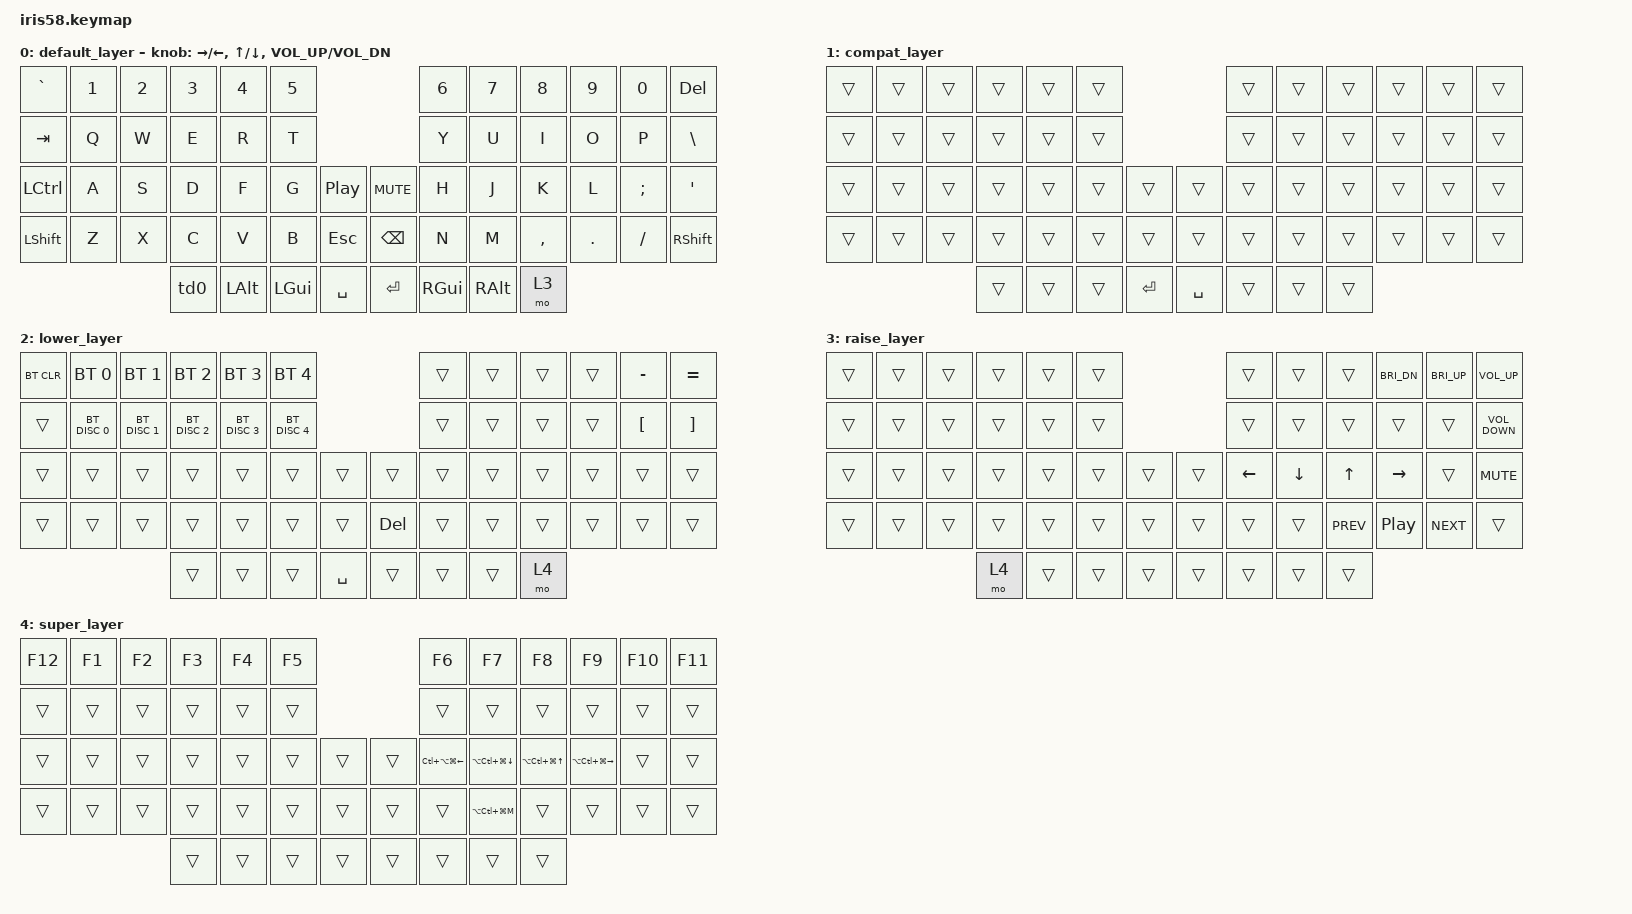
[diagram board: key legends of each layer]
/*
 * Copyright (c) 2020 The ZMK Contributors
 *
 * SPDX-License-Identifier: MIT
 */

#include <behaviors.dtsi>
#include <dt-bindings/zmk/bt.h>
#include <dt-bindings/zmk/keys.h>

/ {

    behaviors {
        td0: tap_dance_0 {
            compatible = "zmk,behavior-tap-dance";
            tapping-term-ms = <200>;
            #binding-cells = <0>;
            bindings = <&mo 2>, <&tog 1>;
        };
    };

    // ----------------------------------------------------------------------------------------
    // |     |     |     |     |     |     |              |     |     |     |     |     |     |
    // |     |     |     |     |     |     |              |     |     |     |     |     |     |
    // |     |     |     |     |     |     |     |  |     |     |     |     |     |     |     |
    // |     |     |     |     |     |     |     |  |     |     |     |     |     |     |     |
    //                   |     |     |     |     |  |     |     |     |     |
    //
    // &trans  &trans  &trans  &trans  &trans  &trans                    &trans  &trans  &trans  &trans  &trans  &trans
    // &trans  &trans  &trans  &trans  &trans  &trans                    &trans  &trans  &trans  &trans  &trans  &trans
    // &trans  &trans  &trans  &trans  &trans  &trans  &trans    &trans  &trans  &trans  &trans  &trans  &trans  &trans
    // &trans  &trans  &trans  &trans  &trans  &trans  &trans    &trans  &trans  &trans  &trans  &trans  &trans  &trans
    //                         &trans  &trans  &trans  &trans    &trans  &trans  &trans  &trans
    keymap {
        compatible = "zmk,keymap";

        // ----------------------------------------------------------------------------------------------------
        // |   `   |  1  |  2  |   3   |  4  |  5  |                  |  6  |  7  |   8   |  9  |  0  |  DEL  |
        // |  TAB  |  Q  |  W  |   E   |  R  |  T  |                  |  Y  |  U  |   I   |  O  |  P  |   \   |
        // |  CTRL |  A  |  S  |   D   |  F  |  G  |  PLAY |  |  MUTE |  H  |  J  |   K   |  L  |  ;  |   '   |
        // | SHIFT |  Z  |  X  |   C   |  V  |  B  |  ESC  |  |  BSPC |  N  |  M  |   ,   |  .  |  /  | SHIFT |
        //                     | LOWER | ALT | GUI | SPACE |  | ENTER | GUI | ALT | RAISE |
        default_layer {
            bindings = <
&kp GRAVE  &kp N1  &kp N2  &kp N3  &kp N4    &kp N5                             &kp N6    &kp N7    &kp N8     &kp N9   &kp N0    &kp DEL
&kp TAB    &kp Q   &kp W   &kp E   &kp R     &kp T                              &kp Y     &kp U     &kp I      &kp O    &kp P     &kp BACKSLASH
&kp LCTRL  &kp A   &kp S   &kp D   &kp F     &kp G     &kp C_PP      &kp C_MUTE &kp H     &kp J     &kp K      &kp L    &kp SEMI  &kp SQT
&kp LSHFT  &kp Z   &kp X   &kp C   &kp V     &kp B     &kp ESCAPE    &kp BSPC   &kp N     &kp M     &kp COMMA  &kp DOT  &kp FSLH  &kp RSHFT
                           &td0    &kp LALT  &kp LGUI  &kp SPACE     &kp ENTER  &kp RGUI  &kp RALT  &mo 3
            >;

            sensor-bindings = <&push_inc_dec_kp RIGHT LEFT &push_inc_dec_kp UP DOWN &inc_dec_kp C_VOL_UP C_VOL_DN>;
        };

        // --------------------------------------------------------------------------------------------
        // |     |     |     |     |     |     |                  |     |     |     |     |     |     |
        // |     |     |     |     |     |     |                  |     |     |     |     |     |     |
        // |     |     |     |     |     |     |       |  |       |     |     |     |     |     |     |
        // |     |     |     |     |     |     |       |  |       |     |     |     |     |     |     |
        //                   |     |     |     | ENTER |  | SPACE |     |     |     |
        compat_layer {
            bindings = <
&trans  &trans  &trans  &trans  &trans  &trans                          &trans  &trans  &trans  &trans  &trans  &trans
&trans  &trans  &trans  &trans  &trans  &trans                          &trans  &trans  &trans  &trans  &trans  &trans
&trans  &trans  &trans  &trans  &trans  &trans  &trans       &trans     &trans  &trans  &trans  &trans  &trans  &trans
&trans  &trans  &trans  &trans  &trans  &trans  &trans       &trans     &trans  &trans  &trans  &trans  &trans  &trans
                        &trans  &trans  &trans  &kp ENTER    &kp SPACE  &trans  &trans  &trans
            >;
        };

        // --------------------------------------------------------------------------------------------
        // | BTCLR | BT1 | BT2 | BT3 | BT4 | BT5 |              |     |     |       |     |  -  |  =  |
        // |       | BD1 | BD2 | BD3 | BD4 | BD5 |              |     |     |       |     |  [  |  ]  |
        // |       |     |     |     |     |     |     |  |     |     |     |       |     |     |     |
        // |       |     |     |     |     |     |     |  | DEL |     |     |       |     |     |     |
        //                     |     |     |     |     |  |     |     |     | SUPER |
        lower_layer {
            bindings = <
&bt BT_CLR  &bt BT_SEL 0   &bt BT_SEL 1   &bt BT_SEL 2   &bt BT_SEL 3   &bt BT_SEL 4                         &trans  &trans  &trans  &trans  &kp MINUS  &kp EQUAL
&trans      &bt BT_DISC 0  &bt BT_DISC 1  &bt BT_DISC 2  &bt BT_DISC 3  &bt BT_DISC 4                        &trans  &trans  &trans  &trans  &kp LBKT   &kp RBKT
&trans      &trans         &trans         &trans         &trans         &trans         &trans       &trans   &trans  &trans  &trans  &trans  &trans     &trans
&trans      &trans         &trans         &trans         &trans         &trans         &trans       &kp DEL  &trans  &trans  &trans  &trans  &trans     &trans
                                          &trans         &trans         &trans         &kp SPACE    &trans   &trans  &trans  &mo 4
            >;
        };

        // --------------------------------------------------------------------------------------------------
        // |     |       |       |       |     |     |              |     |     |     | BRTDN | BRTUP | VUP |
        // |     |       |       |       |     |     |              |     |     |     |       |       | VDN |
        // |     |       |       |       |     |     |     |  |     | LFT | DWN |  UP |  RGT  |       | MUT |
        // |     |       |       |       |     |     |     |  |     |     |     | PRV |  PLAY |  NXT  |     |
        //                       | SUPER |     |     |     |  |     |     |     |     |
        raise_layer {
            bindings = <
&trans  &trans  &trans  &trans  &trans  &trans                    &trans    &trans    &trans      &kp C_BRI_DN  &kp C_BRI_UP  &kp C_VOL_UP
&trans  &trans  &trans  &trans  &trans  &trans                    &trans    &trans    &trans      &trans        &trans        &kp C_VOLUME_DOWN
&trans  &trans  &trans  &trans  &trans  &trans  &trans    &trans  &kp LEFT  &kp DOWN  &kp UP      &kp RIGHT     &trans        &kp C_MUTE
&trans  &trans  &trans  &trans  &trans  &trans  &trans    &trans  &trans    &trans    &kp C_PREV  &kp C_PP      &kp C_NEXT    &trans
                        &mo 4   &trans  &trans  &trans    &trans  &trans    &trans    &trans
            >;
        };

        // ------------------------------------------------------------------------------------------------
        // | F12 |  F1 |  F2 |  F3 |  F4 |  F5 |              |   F6  |   F7  |  F8  |    F9  | F10 | F11 |
        // |     |     |     |     |     |     |              |       |       |      |        |     |     |
        // |     |     |     |     |     |     |     |  |     | W_LFT | W_DWN | W_UP |  W_RGT |     |     |
        // |     |     |     |     |     |     |     |  |     |       | W_MAX |      |        |     |     |
        //                   |     |     |     |     |  |     |       |       |      |
        super_layer {
            bindings = <
&kp F12  &kp F1  &kp F2  &kp F3  &kp F4  &kp F5                    &kp F6                &kp F7                &kp F8              &kp F9                 &kp F10  &kp F11
&trans   &trans  &trans  &trans  &trans  &trans                    &trans                &trans                &trans              &trans                 &trans   &trans
&trans   &trans  &trans  &trans  &trans  &trans  &trans    &trans  &kp LC(LA(LG(LEFT)))  &kp LA(LC(LG(DOWN)))  &kp LA(LC(LG(UP)))  &kp LA(LC(LG(RIGHT)))  &trans   &trans
&trans   &trans  &trans  &trans  &trans  &trans  &trans    &trans  &trans                &kp LA(LC(LG(M)))     &trans              &trans                 &trans   &trans
                         &trans  &trans  &trans  &trans    &trans  &trans                &trans                &trans
            >;
        };
    };
};
